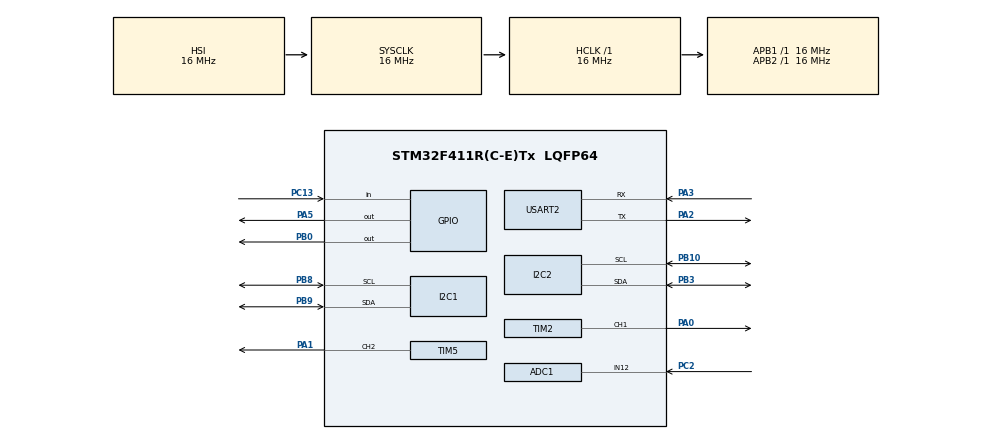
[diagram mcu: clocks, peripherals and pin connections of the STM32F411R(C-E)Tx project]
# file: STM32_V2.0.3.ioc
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ADC1.Channel-16\#ChannelRegularConversion=ADC_CHANNEL_12
ADC1.NbrOfConversionFlag=1
ADC1.Rank-16\#ChannelRegularConversion=1
ADC1.SamplingTime-16\#ChannelRegularConversion=ADC_SAMPLETIME_3CYCLES
ADC1.master=1
FREERTOS.Queues01=queue_ISENSE,256,uint16_t,NULL,Dynamic,NULL,NULL;queue_Direction,16,uint16_t,NULL,Dynamic,NULL,NULL;Queue_Propulsion,16,uint16_t,NULL,Dynamic,NULL,NULL
FREERTOS.Tasks01=task_UART,-1,128,start_Task_UART,Default,NULL,Dynamic,NULL,NULL;task_LED,-1,128,start_Task_LED,Default,NULL,Dynamic,NULL,NULL;task_I2C,1,128,start_Task_I2C,Default,NULL,Dynamic,NULL,NULL;task_Control,3,128,Task_Control,Default,NULL,Dynamic,NULL,NULL
I2C1.OwnAddress=0x20
I2C2.OwnAddress=0x30
Mcu.Family=STM32F4
Mcu.Name=STM32F411R(C-E)Tx
Mcu.Package=LQFP64
NVIC.I2C1_EV_IRQn=true\:5\:0\:true\:false\:true\:false\:true
NVIC.I2C2_EV_IRQn=true\:0\:0\:false\:false\:true\:false\:true
NVIC.PriorityGroup=NVIC_PRIORITYGROUP_4
PA0-WKUP.Signal=S_TIM2_CH1_ETR
PA1.Signal=S_TIM5_CH2
PA2.Mode=Asynchronous
PA2.Signal=USART2_TX
PA3.Mode=Asynchronous
PA3.Signal=USART2_RX
PA5.Signal=GPIO_Output
PB0.Signal=GPIO_Output
PB10.Mode=I2C
PB10.Signal=I2C2_SCL
PB3.Mode=I2C
PB3.Signal=I2C2_SDA
PB8.Mode=I2C
PB8.Signal=I2C1_SCL
PB9.Mode=I2C
PB9.Signal=I2C1_SDA
PC13-ANTI_TAMP.Signal=GPIO_Input
PC2.Signal=ADCx_IN12
ProjectManager.HeapSize=0x200
ProjectManager.StackSize=0x400
ProjectManager.TargetToolchain=SW4STM32
RCC.AHBFreq_Value=16000000
RCC.APB1Freq_Value=16000000
RCC.APB2Freq_Value=16000000
RCC.CortexFreq_Value=16000000
RCC.HSE_VALUE=25000000
RCC.HSI_VALUE=16000000
RCC.LSE_VALUE=32768
RCC.SYSCLKFreq_VALUE=16000000
RCC.VCOOutputFreq_Value=192000000
SH.ADCx_IN12.0=ADC1_IN12,IN12
SH.S_TIM2_CH1_ETR.0=TIM2_CH1,PWM Generation1 CH1
SH.S_TIM5_CH2.0=TIM5_CH2,PWM Generation2 CH2
TIM2.Channel-PWM\ Generation1\ CH1=TIM_CHANNEL_1
TIM5.Channel-PWM\ Generation2\ CH2=TIM_CHANNEL_2
USART2.VirtualMode=VM_ASYNC
VP_FREERTOS_VS_ENABLE.Mode=Enabled
board=STM32_V2.0.3

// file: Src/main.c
/**
  ******************************************************************************
  * File Name          : main.c
  * Description        : Main program body
  ******************************************************************************
  * This notice applies to any and all portions of this file
  * that are not between comment pairs USER CODE BEGIN and
  * USER CODE END. Other portions of this file, whether
  * inserted by the user or by software development tools
  * are owned by their respective copyright owners.
  *
  * Copyright (c) 2017 STMicroelectronics International N.V.
  * All rights reserved.
  *
  * Redistribution and use in source and binary forms, with or without
  * modification, are permitted, provided that the following conditions are met:
  *
  * 1. Redistribution of source code must retain the above copyright notice,
  *    this list of conditions and the following disclaimer.
  * 2. Redistributions in binary form must reproduce the above copyright notice,
  *    this list of conditions and the following disclaimer in the documentation
  *    and/or other materials provided with the distribution.
  * 3. Neither the name of STMicroelectronics nor the names of other
  *    contributors to this software may be used to endorse or promote products
  *    derived from this software without specific written permission.
  * 4. This software, including modifications and/or derivative works of this
  *    software, must execute solely and exclusively on microcontroller or
  *    microprocessor devices manufactured by or for STMicroelectronics.
  * 5. Redistribution and use of this software other than as permitted under
  *    this license is void and will automatically terminate your rights under
  *    this license.
  *
  * THIS SOFTWARE IS PROVIDED BY STMICROELECTRONICS AND CONTRIBUTORS "AS IS"
  * AND ANY EXPRESS, IMPLIED OR STATUTORY WARRANTIES, INCLUDING, BUT NOT
  * LIMITED TO, THE IMPLIED WARRANTIES OF MERCHANTABILITY, FITNESS FOR A
  * PARTICULAR PURPOSE AND NON-INFRINGEMENT OF THIRD PARTY INTELLECTUAL PROPERTY
  * RIGHTS ARE DISCLAIMED TO THE FULLEST EXTENT PERMITTED BY LAW. IN NO EVENT
  * SHALL STMICROELECTRONICS OR CONTRIBUTORS BE LIABLE FOR ANY DIRECT, INDIRECT,
  * INCIDENTAL, SPECIAL, EXEMPLARY, OR CONSEQUENTIAL DAMAGES (INCLUDING, BUT NOT
  * LIMITED TO, PROCUREMENT OF SUBSTITUTE GOODS OR SERVICES; LOSS OF USE, DATA,
  * OR PROFITS; OR BUSINESS INTERRUPTION) HOWEVER CAUSED AND ON ANY THEORY OF
  * LIABILITY, WHETHER IN CONTRACT, STRICT LIABILITY, OR TORT (INCLUDING
  * NEGLIGENCE OR OTHERWISE) ARISING IN ANY WAY OUT OF THE USE OF THIS SOFTWARE,
  * EVEN IF ADVISED OF THE POSSIBILITY OF SUCH DAMAGE.
  *
  ******************************************************************************
  */
#include "main.h"
#include "stm32f4xx_hal.h"
#include "cmsis_os.h"

ADC_HandleTypeDef hadc1;

I2C_HandleTypeDef hi2c1;
I2C_HandleTypeDef hi2c2;

TIM_HandleTypeDef htim2;
TIM_HandleTypeDef htim5;

UART_HandleTypeDef huart2;

osThreadId task_UARTHandle;
osThreadId task_LEDHandle;
osThreadId task_I2CHandle;
osThreadId task_ControlHandle;
osMessageQId queue_ISENSEHandle;
osMessageQId queue_DirectionHandle;
osMessageQId Queue_PropulsionHandle;

/* USER CODE BEGIN PV */
/* Private variables ---------------------------------------------------------*/

/* USER CODE END PV */

void SystemClock_Config(void);
static void MX_GPIO_Init(void);
static void MX_ADC1_Init(void);
static void MX_USART2_UART_Init(void);
static void MX_TIM2_Init(void);
static void MX_I2C1_Init(void);
static void MX_I2C2_Init(void);
static void MX_TIM5_Init(void);
void start_Task_UART(void const * argument);
void start_Task_LED(void const * argument);
void start_Task_I2C(void const * argument);
void Task_Control(void const * argument);

void HAL_TIM_MspPostInit(TIM_HandleTypeDef *htim);

/* USER CODE BEGIN PFP */
/* Private function prototypes -----------------------------------------------*/

/* USER CODE END PFP */

/* USER CODE BEGIN 0 */
int manual_mode = 0;
int etat_LED = 2; // 0 --> critical error ; 1 --> normal and I2C ; 2 --> normal and UART connection
/* USER CODE END 0 */

int main(void)
{

  /* MCU Configuration----------------------------------------------------------*/

  /* Reset of all peripherals, Initializes the Flash interface and the Systick. */
  HAL_Init();

  /* Configure the system clock */
  SystemClock_Config();

  /* Initialize all configured peripherals */
  MX_GPIO_Init();
  MX_ADC1_Init();
  MX_USART2_UART_Init();
  MX_TIM2_Init();
  MX_I2C1_Init();
  MX_I2C2_Init();
  MX_TIM5_Init();

  /* USER CODE BEGIN 2 */
  UART_START_MENU(&huart2);
  /* USER CODE END 2 */

  /* Create the thread(s) */
  /* definition and creation of task_UART */
  osThreadDef(task_UART, start_Task_UART, osPriorityBelowNormal, 0, 128);
  task_UARTHandle = osThreadCreate(osThread(task_UART), NULL);

  /* definition and creation of task_LED */
  osThreadDef(task_LED, start_Task_LED, osPriorityBelowNormal, 0, 128);
  task_LEDHandle = osThreadCreate(osThread(task_LED), NULL);

  /* definition and creation of task_I2C */
  osThreadDef(task_I2C, start_Task_I2C, osPriorityAboveNormal, 0, 128);
  task_I2CHandle = osThreadCreate(osThread(task_I2C), NULL);

  /* definition and creation of task_Control */
  osThreadDef(task_Control, Task_Control, osPriorityRealtime, 0, 128);
  task_ControlHandle = osThreadCreate(osThread(task_Control), NULL);

  /* Create the queue(s) */
  /* definition and creation of queue_ISENSE */
  osMessageQDef(queue_ISENSE, 256, uint16_t);
  queue_ISENSEHandle = osMessageCreate(osMessageQ(queue_ISENSE), NULL);

  /* definition and creation of queue_Direction */
  osMessageQDef(queue_Direction, 16, uint16_t);
  queue_DirectionHandle = osMessageCreate(osMessageQ(queue_Direction), NULL);

  /* definition and creation of Queue_Propulsion */
  osMessageQDef(Queue_Propulsion, 16, uint16_t);
  Queue_PropulsionHandle = osMessageCreate(osMessageQ(Queue_Propulsion), NULL);

  /* Start scheduler */
  osKernelStart();

  /* We should never get here as control is now taken by the scheduler */

  /* Infinite loop */
  while (1)
  {

  }

}

/** System Clock Configuration
*/
void SystemClock_Config(void)
{

  RCC_OscInitTypeDef RCC_OscInitStruct;
  RCC_ClkInitTypeDef RCC_ClkInitStruct;

    /**Configure the main internal regulator output voltage
    */
  __HAL_RCC_PWR_CLK_ENABLE();

  __HAL_PWR_VOLTAGESCALING_CONFIG(PWR_REGULATOR_VOLTAGE_SCALE1);

    /**Initializes the CPU, AHB and APB busses clocks
    */
  RCC_OscInitStruct.OscillatorType = RCC_OSCILLATORTYPE_HSI;
  RCC_OscInitStruct.HSIState = RCC_HSI_ON;
  RCC_OscInitStruct.HSICalibrationValue = 16;
  RCC_OscInitStruct.PLL.PLLState = RCC_PLL_NONE;
  if (HAL_RCC_OscConfig(&RCC_OscInitStruct) != HAL_OK)
  {
    _Error_Handler(__FILE__, __LINE__);
  }

    /**Initializes the CPU, AHB and APB busses clocks
    */
  RCC_ClkInitStruct.ClockType = RCC_CLOCKTYPE_HCLK|RCC_CLOCKTYPE_SYSCLK
                              |RCC_CLOCKTYPE_PCLK1|RCC_CLOCKTYPE_PCLK2;
  RCC_ClkInitStruct.SYSCLKSource = RCC_SYSCLKSOURCE_HSI;
  RCC_ClkInitStruct.AHBCLKDivider = RCC_SYSCLK_DIV1;
  RCC_ClkInitStruct.APB1CLKDivider = RCC_HCLK_DIV1;
  RCC_ClkInitStruct.APB2CLKDivider = RCC_HCLK_DIV1;

  if (HAL_RCC_ClockConfig(&RCC_ClkInitStruct, FLASH_LATENCY_0) != HAL_OK)
  {
    _Error_Handler(__FILE__, __LINE__);
  }

    /**Configure the Systick interrupt time
    */
  HAL_SYSTICK_Config(HAL_RCC_GetHCLKFreq()/1000);

    /**Configure the Systick
    */
  HAL_SYSTICK_CLKSourceConfig(SYSTICK_CLKSOURCE_HCLK);

  /* SysTick_IRQn interrupt configuration */
  HAL_NVIC_SetPriority(SysTick_IRQn, 15, 0);
}

/* ADC1 init function */
static void MX_ADC1_Init(void)
{

  ADC_ChannelConfTypeDef sConfig;

    /**Configure the global features of the ADC (Clock, Resolution, Data Alignment and number of conversion)
    */
  hadc1.Instance = ADC1;
  hadc1.Init.ClockPrescaler = ADC_CLOCK_SYNC_PCLK_DIV2;
  hadc1.Init.Resolution = ADC_RESOLUTION_12B;
  hadc1.Init.ScanConvMode = DISABLE;
  hadc1.Init.ContinuousConvMode = DISABLE;
  hadc1.Init.DiscontinuousConvMode = DISABLE;
  hadc1.Init.ExternalTrigConvEdge = ADC_EXTERNALTRIGCONVEDGE_NONE;
  hadc1.Init.ExternalTrigConv = ADC_SOFTWARE_START;
  hadc1.Init.DataAlign = ADC_DATAALIGN_RIGHT;
  hadc1.Init.NbrOfConversion = 1;
  hadc1.Init.DMAContinuousRequests = DISABLE;
  hadc1.Init.EOCSelection = ADC_EOC_SINGLE_CONV;
  if (HAL_ADC_Init(&hadc1) != HAL_OK)
  {
    _Error_Handler(__FILE__, __LINE__);
  }

    /**Configure for the selected ADC regular channel its corresponding rank in the sequencer and its sample time.
    */
  sConfig.Channel = ADC_CHANNEL_12;
  sConfig.Rank = 1;
  sConfig.SamplingTime = ADC_SAMPLETIME_3CYCLES;
  if (HAL_ADC_ConfigChannel(&hadc1, &sConfig) != HAL_OK)
  {
    _Error_Handler(__FILE__, __LINE__);
  }

}

/* I2C1 init function */
static void MX_I2C1_Init(void)
{

  hi2c1.Instance = I2C1;
  hi2c1.Init.ClockSpeed = 100000;
  hi2c1.Init.DutyCycle = I2C_DUTYCYCLE_2;
  hi2c1.Init.OwnAddress1 = 64;
  hi2c1.Init.AddressingMode = I2C_ADDRESSINGMODE_7BIT;
  hi2c1.Init.DualAddressMode = I2C_DUALADDRESS_DISABLE;
  hi2c1.Init.OwnAddress2 = 0;
  hi2c1.Init.GeneralCallMode = I2C_GENERALCALL_DISABLE;
  hi2c1.Init.NoStretchMode = I2C_NOSTRETCH_DISABLE;
  if (HAL_I2C_Init(&hi2c1) != HAL_OK)
  {
    _Error_Handler(__FILE__, __LINE__);
  }

}

/* I2C2 init function */
static void MX_I2C2_Init(void)
{

  hi2c2.Instance = I2C2;
  hi2c2.Init.ClockSpeed = 100000;
  hi2c2.Init.DutyCycle = I2C_DUTYCYCLE_2;
  hi2c2.Init.OwnAddress1 = 96;
  hi2c2.Init.AddressingMode = I2C_ADDRESSINGMODE_7BIT;
  hi2c2.Init.DualAddressMode = I2C_DUALADDRESS_DISABLE;
  hi2c2.Init.OwnAddress2 = 0;
  hi2c2.Init.GeneralCallMode = I2C_GENERALCALL_DISABLE;
  hi2c2.Init.NoStretchMode = I2C_NOSTRETCH_DISABLE;
  if (HAL_I2C_Init(&hi2c2) != HAL_OK)
  {
    _Error_Handler(__FILE__, __LINE__);
  }

}

/* TIM2 init function */
static void MX_TIM2_Init(void)
{

  TIM_MasterConfigTypeDef sMasterConfig;
  TIM_OC_InitTypeDef sConfigOC;

  htim2.Instance = TIM2;
  htim2.Init.Prescaler = 0;
  htim2.Init.CounterMode = TIM_COUNTERMODE_UP;
  htim2.Init.Period = 0;
  htim2.Init.ClockDivision = TIM_CLOCKDIVISION_DIV1;
  if (HAL_TIM_PWM_Init(&htim2) != HAL_OK)
  {
    _Error_Handler(__FILE__, __LINE__);
  }

  sMasterConfig.MasterOutputTrigger = TIM_TRGO_RESET;
  sMasterConfig.MasterSlaveMode = TIM_MASTERSLAVEMODE_DISABLE;
  if (HAL_TIMEx_MasterConfigSynchronization(&htim2, &sMasterConfig) != HAL_OK)
  {
    _Error_Handler(__FILE__, __LINE__);
  }

  sConfigOC.OCMode = TIM_OCMODE_PWM1;
  sConfigOC.Pulse = 0;
  sConfigOC.OCPolarity = TIM_OCPOLARITY_HIGH;
  sConfigOC.OCFastMode = TIM_OCFAST_DISABLE;
  if (HAL_TIM_PWM_ConfigChannel(&htim2, &sConfigOC, TIM_CHANNEL_1) != HAL_OK)
  {
    _Error_Handler(__FILE__, __LINE__);
  }

  HAL_TIM_MspPostInit(&htim2);

}

/* TIM5 init function */
static void MX_TIM5_Init(void)
{

  TIM_MasterConfigTypeDef sMasterConfig;
  TIM_OC_InitTypeDef sConfigOC;

  htim5.Instance = TIM5;
  htim5.Init.Prescaler = 0;
  htim5.Init.CounterMode = TIM_COUNTERMODE_UP;
  htim5.Init.Period = 0;
  htim5.Init.ClockDivision = TIM_CLOCKDIVISION_DIV1;
  if (HAL_TIM_PWM_Init(&htim5) != HAL_OK)
  {
    _Error_Handler(__FILE__, __LINE__);
  }

  sMasterConfig.MasterOutputTrigger = TIM_TRGO_RESET;
  sMasterConfig.MasterSlaveMode = TIM_MASTERSLAVEMODE_DISABLE;
  if (HAL_TIMEx_MasterConfigSynchronization(&htim5, &sMasterConfig) != HAL_OK)
  {
    _Error_Handler(__FILE__, __LINE__);
  }

  sConfigOC.OCMode = TIM_OCMODE_PWM1;
  sConfigOC.Pulse = 0;
  sConfigOC.OCPolarity = TIM_OCPOLARITY_HIGH;
  sConfigOC.OCFastMode = TIM_OCFAST_DISABLE;
  if (HAL_TIM_PWM_ConfigChannel(&htim5, &sConfigOC, TIM_CHANNEL_2) != HAL_OK)
  {
    _Error_Handler(__FILE__, __LINE__);
  }

  HAL_TIM_MspPostInit(&htim5);

}

/* USART2 init function */
static void MX_USART2_UART_Init(void)
{

  huart2.Instance = USART2;
  huart2.Init.BaudRate = 115200;
  huart2.Init.WordLength = UART_WORDLENGTH_8B;
  huart2.Init.StopBits = UART_STOPBITS_1;
  huart2.Init.Parity = UART_PARITY_NONE;
  huart2.Init.Mode = UART_MODE_TX_RX;
  huart2.Init.HwFlowCtl = UART_HWCONTROL_NONE;
  huart2.Init.OverSampling = UART_OVERSAMPLING_16;
  if (HAL_UART_Init(&huart2) != HAL_OK)
  {
    _Error_Handler(__FILE__, __LINE__);
  }

}

/** Configure pins as
        * Analog
        * Input
        * Output
        * EVENT_OUT
        * EXTI
*/
static void MX_GPIO_Init(void)
{

  GPIO_InitTypeDef GPIO_InitStruct;

  /* GPIO Ports Clock Enable */
  __HAL_RCC_GPIOC_CLK_ENABLE();
  __HAL_RCC_GPIOA_CLK_ENABLE();
  __HAL_RCC_GPIOB_CLK_ENABLE();

  /*Configure GPIO pin Output Level */
  HAL_GPIO_WritePin(GPIOA, GPIO_PIN_5, GPIO_PIN_RESET);

  /*Configure GPIO pin Output Level */
  HAL_GPIO_WritePin(GPIOB, GPIO_PIN_0, GPIO_PIN_RESET);

  /*Configure GPIO pin : PC13 */
  GPIO_InitStruct.Pin = GPIO_PIN_13;
  GPIO_InitStruct.Mode = GPIO_MODE_INPUT;
  GPIO_InitStruct.Pull = GPIO_NOPULL;
  HAL_GPIO_Init(GPIOC, &GPIO_InitStruct);

  /*Configure GPIO pin : PA5 */
  GPIO_InitStruct.Pin = GPIO_PIN_5;
  GPIO_InitStruct.Mode = GPIO_MODE_OUTPUT_PP;
  GPIO_InitStruct.Pull = GPIO_NOPULL;
  GPIO_InitStruct.Speed = GPIO_SPEED_FREQ_LOW;
  HAL_GPIO_Init(GPIOA, &GPIO_InitStruct);

  /*Configure GPIO pin : PB0 */
  GPIO_InitStruct.Pin = GPIO_PIN_0;
  GPIO_InitStruct.Mode = GPIO_MODE_OUTPUT_PP;
  GPIO_InitStruct.Pull = GPIO_NOPULL;
  GPIO_InitStruct.Speed = GPIO_SPEED_FREQ_LOW;
  HAL_GPIO_Init(GPIOB, &GPIO_InitStruct);

}

/* USER CODE BEGIN 4 */
void PWM_Prop(uint32_t Channel, uint8_t Power) {
	TIM_MasterConfigTypeDef sMasterConfig;
	TIM_OC_InitTypeDef sConfigOC;

	htim2.Instance = TIM2;
	htim2.Init.Prescaler = 0;
	htim2.Init.CounterMode = TIM_COUNTERMODE_UP;
	htim2.Init.Period = 1600;
	htim2.Init.ClockDivision = TIM_CLOCKDIVISION_DIV1;
	if (HAL_TIM_PWM_Init(&htim2) != HAL_OK) {
		_Error_Handler(__FILE__, __LINE__);
	}

	sMasterConfig.MasterOutputTrigger = TIM_TRGO_RESET;
	sMasterConfig.MasterSlaveMode = TIM_MASTERSLAVEMODE_DISABLE;
	if (HAL_TIMEx_MasterConfigSynchronization(&htim2, &sMasterConfig)
			!= HAL_OK) {
		_Error_Handler(__FILE__, __LINE__);
	}

	sConfigOC.OCMode = TIM_OCMODE_PWM1;
	sConfigOC.Pulse = Power * htim2.Init.Period / 100;
	sConfigOC.OCPolarity = TIM_OCPOLARITY_HIGH;
	sConfigOC.OCFastMode = TIM_OCFAST_DISABLE;
	if (HAL_TIM_PWM_ConfigChannel(&htim2, &sConfigOC, Channel) != HAL_OK) {
		_Error_Handler(__FILE__, __LINE__);
	}

	HAL_TIM_MspPostInit(&htim2);
	HAL_TIM_PWM_Start(&htim2, Channel);
}
void PWM_Dir(uint32_t Channel, uint8_t Power) {
	TIM_MasterConfigTypeDef sMasterConfig;
	TIM_OC_InitTypeDef sConfigOC;

	htim5.Instance = TIM5;
	htim5.Init.Prescaler = 0;
	htim5.Init.CounterMode = TIM_COUNTERMODE_UP;
	htim5.Init.Period = 16000000/75;
	htim5.Init.ClockDivision = TIM_CLOCKDIVISION_DIV1;
	if (HAL_TIM_PWM_Init(&htim5) != HAL_OK) {
		_Error_Handler(__FILE__, __LINE__);
	}

	sMasterConfig.MasterOutputTrigger = TIM_TRGO_RESET;
	sMasterConfig.MasterSlaveMode = TIM_MASTERSLAVEMODE_DISABLE;
	if (HAL_TIMEx_MasterConfigSynchronization(&htim5, &sMasterConfig)
			!= HAL_OK) {
		_Error_Handler(__FILE__, __LINE__);
	}

	sConfigOC.OCMode = TIM_OCMODE_PWM1;
	sConfigOC.Pulse = Power * htim5.Init.Period / 100;
	sConfigOC.OCPolarity = TIM_OCPOLARITY_HIGH;
	sConfigOC.OCFastMode = TIM_OCFAST_DISABLE;
	if (HAL_TIM_PWM_ConfigChannel(&htim5, &sConfigOC, Channel) != HAL_OK) {
		_Error_Handler(__FILE__, __LINE__);
	}

	HAL_TIM_MspPostInit(&htim5);
	HAL_TIM_PWM_Start(&htim5, Channel);
}
/* USER CODE END 4 */

/* start_Task_UART function */
void start_Task_UART(void const * argument)
{

  /* USER CODE BEGIN 5 */
  /* Infinite loop */
  for(;;)
  {
    osDelay(500);
    UART_MENU(&huart2,&manual_mode,&Queue_PropulsionHandle,&queue_DirectionHandle);
  }
  /* USER CODE END 5 */
}

/* start_Task_LED function */
void start_Task_LED(void const * argument)
{
  /* USER CODE BEGIN start_Task_LED */
  /* Infinite loop */
  for(;;)
  {
    osDelay(1000);
  }
  /* USER CODE END start_Task_LED */
}

/* start_Task_I2C function */
void start_Task_I2C(void const * argument)
{
  /* USER CODE BEGIN start_Task_I2C */
  /* Infinite loop */
  for(;;)
  {
    osDelay(50);
  }
  /* USER CODE END start_Task_I2C */
}

/* Task_Control function */
void Task_Control(void const * argument)
{
  /* USER CODE BEGIN Task_Control */
  /* Infinite loop */
  for(;;)
  {
    float sensor;
    int cmd_prop,cmd_dir;

    osEvent cmd_event_prop,cmd_event_dir;
      /* Infinite loop */
      for(;;)
      {
        if (HAL_ADC_PollForConversion(&hadc1,100U)==HAL_OK)
        {
    		sensor = HAL_ADC_GetValue(&hadc1)*100/4095;
        }

        cmd_event_prop = osMessageGet(Queue_PropulsionHandle,0);
        cmd_prop =cmd_event_prop.value.v;
        if(cmd_event_prop.status==osEventMessage){
        	PWM_Prop(TIM_CHANNEL_1,cmd_prop*100/1023);
        }

        cmd_event_dir = osMessageGet(queue_DirectionHandle,0);
        cmd_dir = cmd_event_dir.value.v -127;
        if(cmd_event_dir.status==osEventMessage){
        	//
        	PWM_Dir(TIM_CHANNEL_2,(128-cmd_dir)*5/255+9);
        }
        osDelay(10);

      }
  }
  /* USER CODE END Task_Control */
}

void _Error_Handler(char * file, int line)
{
  while(1)
  {
  }
}

/************************ (C) COPYRIGHT STMicroelectronics *****END OF FILE****/
